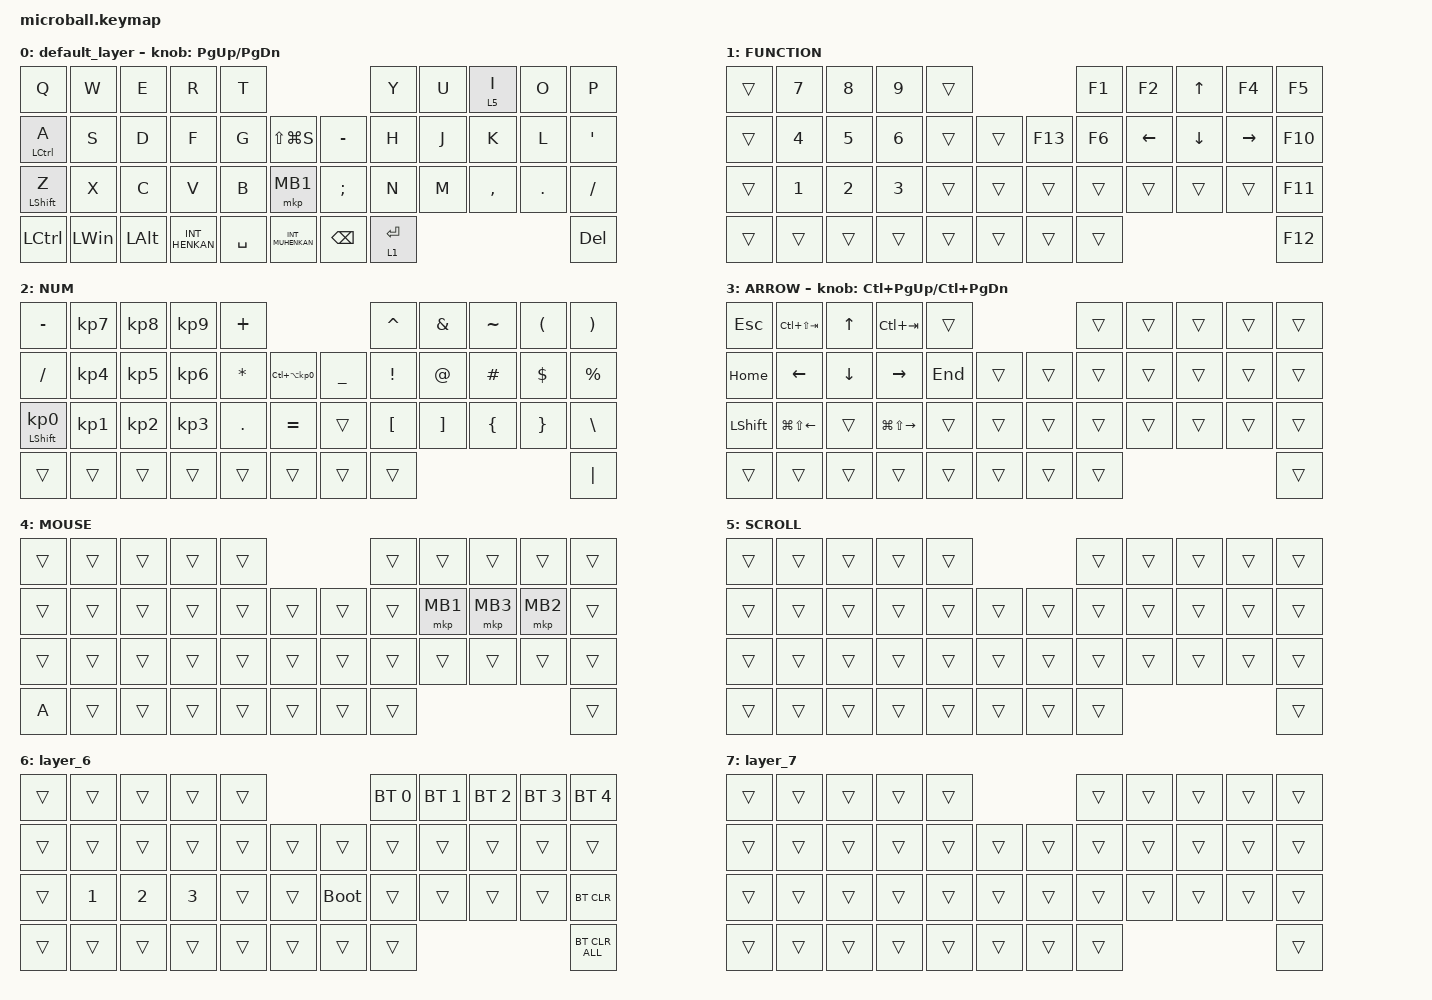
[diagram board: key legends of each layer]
#include <behaviors.dtsi>
#include <dt-bindings/zmk/bt.h>
#include <dt-bindings/zmk/keys.h>
#include <dt-bindings/zmk/pointing.h>

#define MOUSE 4
#define SCROLL 5
#define NUM 6

&mt {
    flavor = "balanced";
    quick-tap-ms = <0>;
};

/ {
    combos {
        compatible = "zmk,combos";

        tab {
            bindings = <&kp TAB>;
            key-positions = <11 12>;
        };

        shift_tab {
            bindings = <&kp LS(TAB)>;
            key-positions = <12 13>;
        };

        muhennkann {
            bindings = <&to_layer_0 INT_MUHENKAN>;
            key-positions = <11 10>;
        };

        double_quotation {
            bindings = <&kp DOUBLE_QUOTES>;
            key-positions = <20 21>;
        };

        eq {
            bindings = <&kp EQUAL>;
            key-positions = <24 25>;
        };
    };

    macros {
        to_layer_0: to_layer_0 {
            compatible = "zmk,behavior-macro-one-param";
            #binding-cells = <1>;
            bindings = <&to 0 &macro_param_1to1 &kp MACRO_PLACEHOLDER>;
            label = "TO_LAYER_0";
        };
    };

    behaviors {
        lt_to_layer_0: lt_to_layer_0 {
            compatible = "zmk,behavior-hold-tap";
            label = "LAYER_TAP_TO_0";
            bindings = <&mo>, <&to_layer_0>;

            #binding-cells = <2>;
            tapping-term-ms = <200>;
        };
    };

    keymap {
        compatible = "zmk,keymap";

        default_layer {
            bindings = <
&kp Q             &kp W         &kp E         &kp R           &kp T                                           &kp Y        &kp U  &lt 5 I    &kp O    &kp P
&mt LCTRL A       &kp S         &kp D         &kp F           &kp G      &kp LS(LG(S))         &kp MINUS      &kp H        &kp J  &kp K      &kp L    &kp SQT
&mt LEFT_SHIFT Z  &kp X         &kp C         &kp V           &kp B      &mkp MB1              &kp SEMICOLON  &kp N        &kp M  &kp COMMA  &kp DOT  &kp SLASH
&kp LEFT_CONTROL  &kp LEFT_WIN  &kp LEFT_ALT  &kp INT_HENKAN  &kp SPACE  &kp INT_MUHENKAN      &kp BACKSPACE  &lt 1 ENTER                             &kp DEL
            >;

            sensor-bindings = <&inc_dec_kp PG_UP PAGE_DOWN>;
        };

        FUNCTION {
            bindings = <
&trans  &kp N7        &kp N8        &kp N9        &trans                       &kp F1  &kp F2          &kp UP_ARROW    &kp F4           &kp F5
&trans  &kp NUMBER_4  &kp N5        &kp NUMBER_6  &trans  &trans      &kp F13  &kp F6  &kp LEFT_ARROW  &kp DOWN_ARROW  &kp RIGHT_ARROW  &kp F10
&trans  &kp NUMBER_1  &kp NUMBER_2  &kp NUMBER_3  &trans  &trans      &trans   &trans  &trans          &trans          &trans           &kp F11
&trans  &trans        &trans        &trans        &trans  &trans      &trans   &trans                                                   &kp F12
            >;
        };

        NUM {
            bindings = <
&kp MINUS                   &kp KP_NUMBER_7  &kp KP_NUMBER_8  &kp KP_NUMBER_9  &kp PLUS                                                   &kp CARET         &kp AMPERSAND      &kp TILDE       &kp LEFT_PARENTHESIS  &kp RIGHT_PARENTHESIS
&kp SLASH                   &kp KP_NUMBER_4  &kp KP_NUMBER_5  &kp KP_NUMBER_6  &kp ASTERISK  &kp LC(LA(KP_NUMBER_0))      &kp UNDERSCORE  &kp EXCLAMATION   &kp AT_SIGN        &kp HASH        &kp DOLLAR            &kp PERCENT
&mt LEFT_SHIFT KP_NUMBER_0  &kp KP_NUMBER_1  &kp KP_NUMBER_2  &kp KP_NUMBER_3  &kp PERIOD    &kp EQUAL                    &trans          &kp LEFT_BRACKET  &kp RIGHT_BRACKET  &kp LEFT_BRACE  &kp RIGHT_BRACE       &kp BACKSLASH
&trans                      &trans           &trans           &trans           &trans        &trans                       &trans          &trans                                                                     &kp PIPE
            >;
        };

        ARROW {
            bindings = <
&kp ESCAPE      &kp LC(LS(TAB))         &kp UP_ARROW    &kp LC(TAB)              &trans                       &trans  &trans  &trans  &trans  &trans
&kp HOME        &kp LEFT_ARROW          &kp DOWN_ARROW  &kp RIGHT_ARROW          &kp END  &trans      &trans  &trans  &trans  &trans  &trans  &trans
&kp LEFT_SHIFT  &kp LG(LS(LEFT_ARROW))  &trans          &kp LG(LS(RIGHT_ARROW))  &trans   &trans      &trans  &trans  &trans  &trans  &trans  &trans
&trans          &trans                  &trans          &trans                   &trans   &trans      &trans  &trans                          &trans
            >;

            sensor-bindings = <&inc_dec_kp LC(PAGE_UP) LC(PAGE_DOWN)>;
        };

        MOUSE {
            bindings = <
&trans  &trans  &trans  &trans  &trans                      &trans  &trans    &trans    &trans    &trans
&trans  &trans  &trans  &trans  &trans  &trans      &trans  &trans  &mkp MB1  &mkp MB3  &mkp MB2  &trans
&trans  &trans  &trans  &trans  &trans  &trans      &trans  &trans  &trans    &trans    &trans    &trans
&kp A   &trans  &trans  &trans  &trans  &trans      &trans  &trans                                &trans
            >;
        };

        SCROLL {
            bindings = <
&trans  &trans  &trans  &trans  &trans                      &trans  &trans  &trans  &trans  &trans
&trans  &trans  &trans  &trans  &trans  &trans      &trans  &trans  &trans  &trans  &trans  &trans
&trans  &trans  &trans  &trans  &trans  &trans      &trans  &trans  &trans  &trans  &trans  &trans
&trans  &trans  &trans  &trans  &trans  &trans      &trans  &trans                          &trans
            >;
        };

        layer_6 {
            bindings = <
&trans  &trans        &trans        &trans        &trans                           &bt BT_SEL 0  &bt BT_SEL 1  &bt BT_SEL 2  &bt BT_SEL 3  &bt BT_SEL 4
&trans  &trans        &trans        &trans        &trans  &trans      &trans       &trans        &trans        &trans        &trans        &trans
&trans  &kp NUMBER_1  &kp NUMBER_2  &kp NUMBER_3  &trans  &trans      &bootloader  &trans        &trans        &trans        &trans        &bt BT_CLR
&trans  &trans        &trans        &trans        &trans  &trans      &trans       &trans                                                  &bt BT_CLR_ALL
            >;
        };

        layer_7 {
            bindings = <
&trans  &trans  &trans  &trans  &trans                      &trans  &trans  &trans  &trans  &trans
&trans  &trans  &trans  &trans  &trans  &trans      &trans  &trans  &trans  &trans  &trans  &trans
&trans  &trans  &trans  &trans  &trans  &trans      &trans  &trans  &trans  &trans  &trans  &trans
&trans  &trans  &trans  &trans  &trans  &trans      &trans  &trans                          &trans
            >;
        };
    };
};
